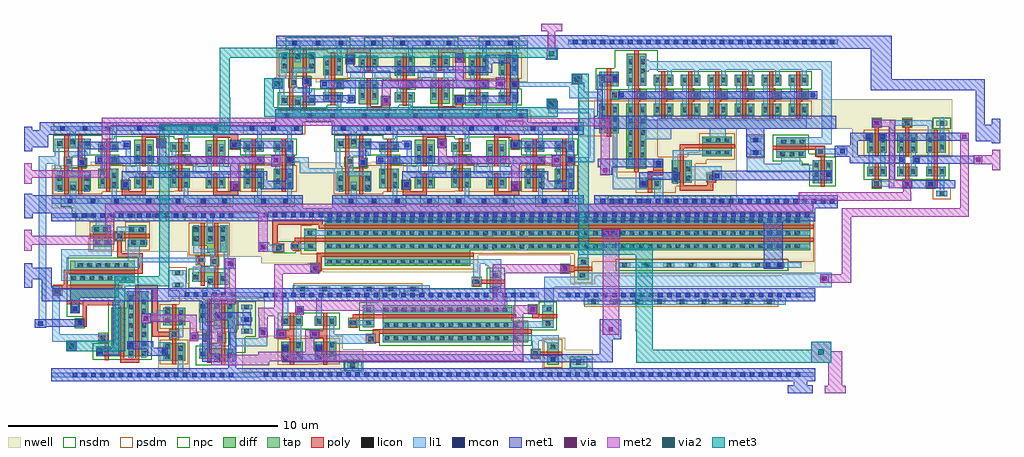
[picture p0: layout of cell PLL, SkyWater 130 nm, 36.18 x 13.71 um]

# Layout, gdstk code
from math import pi, radians
import gdstk
lib = gdstk.Library(unit=1e-6, precision=1e-09)
def R(c, l, rs):  # rectangles x0, y0, x1, y1
    for r in rs: c.add(gdstk.rectangle(r[:2], r[2:], *l))
def A(c, l, x, y, w, h, nx, ny, dx, dy):  # array of equal rectangles
    R(c, l, [(x+i*dx, y+j*dy, x+i*dx+w, y+j*dy+h) for i in range(nx) for j in range(ny)])
nwell = (64, 20)
diff = (65, 20)
tap = (65, 44)
poly = (66, 20)
licon = (66, 44)
li1 = (67, 20)
mcon = (67, 44)
met1 = (68, 20)
via = (68, 44)
met2 = (69, 20)
via2 = (69, 44)
met3 = (70, 20)
nsdm = (93, 44)
psdm = (94, 20)
npc = (95, 20)

c_fd = lib.new_cell('FD')
R(c_fd, nwell, [(6.79,1.48,7.86,1.55), (0,1.49,2.37,1.85), (3.96,1.49,5.1,1.84), (6.67,1.55,7.86,1.6), (6.67,1.6,9.32,1.84), (3.96,1.84,9.32,1.85), (0,1.85,9.32,3.2)])
R(c_fd, diff, [(7.87,0.62,9.13,0.98), (5.53,0.66,6.26,1.5), (2.88,0.67,3.61,1.51), (4.19,0.74,4.92,1.1), (0.35,0.75,1.08,1.11), (1.46,0.75,2.19,1.11), (6.85,0.75,7.58,1.11), (4.19,1.72,4.92,2.44), (0.35,1.73,1.08,2.45), (1.46,1.73,2.19,2.45), (6.85,1.73,7.58,2.45), (7.87,1.83,9.13,2), (7.87,2,9.14,2.55), (5.53,2.03,6.26,2.45), (2.88,2.04,3.61,2.46)])
A(c_fd, tap, 7.02, 0.15, 0.42, 0.17, 3, 1, 0.84, 0)
A(c_fd, tap, 6.7, 2.83, 0.43, 0.19, 3, 1, 0.86, 0)
R(c_fd, tap, [(0.03,0.15,0.45,0.32), (0.87,0.15,1.29,0.32), (1.67,0.15,2.09,0.32), (3.02,0.15,3.44,0.32), (3.94,0.15,4.36,0.32), (5,0.15,5.42,0.32), (5.84,0.15,6.26,0.32), (0.43,2.83,0.86,3.02), (1.25,2.83,1.68,3.02), (2.7,2.83,3.13,3.02), (3.48,2.83,3.91,3.02), (4.42,2.83,4.85,3.02), (5.5,2.83,5.93,3.02)])
R(c_fd, poly, [(5.12,0.43,5.97,0.58), (2.4,0.44,3.32,0.59), (8.18,0.49,8.33,1.37), (8.69,0.49,8.84,1.24), (5.12,0.58,5.39,0.96), (5.82,0.58,5.97,1.63), (2.4,0.59,2.67,1), (3.17,0.59,3.32,1.64), (4.48,0.61,4.63,1.25), (0.64,0.62,0.79,1.26), (1.75,0.62,1.9,1.26), (7.14,0.62,7.29,1.26), (8.66,1.24,8.84,1.3), (4.19,1.25,4.63,1.26), (0.35,1.26,0.79,1.27), (1.46,1.26,1.9,1.27), (4.16,1.26,4.63,1.5), (6.85,1.26,7.29,1.27), (0.32,1.27,0.79,1.51), (1.43,1.27,1.9,1.51), (6.82,1.27,7.29,1.51), (8.55,1.3,8.84,1.64), (8.05,1.37,8.33,1.42), (8.02,1.42,8.34,1.59), (4.19,1.5,4.63,1.52), (0.35,1.51,0.79,1.53), (1.46,1.51,1.9,1.53), (6.85,1.51,7.29,1.53), (4.48,1.52,4.63,2.57), (0.64,1.53,0.79,2.58), (1.75,1.53,1.9,2.58), (7.14,1.53,7.29,2.58), (8.05,1.59,8.33,1.64), (8.18,1.64,8.33,2.68), (8.66,1.64,8.84,1.68), (8.69,1.68,8.84,2.68), (5.82,1.89,5.97,2.56), (3.17,1.9,3.32,2.57), (6.44,2.16,6.71,2.56), (2.39,2.22,2.66,2.57), (5.82,2.56,6.71,2.71), (2.39,2.57,3.32,2.72)])
A(c_fd, licon, 7.15, 0.15, 0.17, 0.17, 3, 1, 0.84, 0)
A(c_fd, licon, 6.83, 2.84, 0.17, 0.17, 3, 1, 0.86, 0)
R(c_fd, licon, [(0.16,0.15,0.33,0.32), (1,0.15,1.17,0.32), (1.8,0.15,1.97,0.32), (3.15,0.15,3.32,0.32), (4.07,0.15,4.24,0.32), (5.13,0.15,5.3,0.32), (5.97,0.15,6.14,0.32), (8.45,0.66,8.62,0.83), (5.17,0.71,5.34,0.88), (7.93,0.71,8.1,0.88), (8.92,0.71,9.09,0.88), (2.45,0.75,2.62,0.92), (4.25,0.84,4.42,1.01), (4.69,0.84,4.86,1.01), (0.41,0.85,0.58,1.02), (0.85,0.85,1.02,1.02), (1.52,0.85,1.69,1.02), (1.96,0.85,2.13,1.02), (6.91,0.85,7.08,1.02), (7.35,0.85,7.52,1.02), (5.59,0.9,5.76,1.07), (6.03,0.9,6.2,1.07), (2.94,0.91,3.11,1.08), (3.38,0.91,3.55,1.08), (5.59,1.24,5.76,1.41), (6.03,1.24,6.2,1.41), (2.94,1.25,3.11,1.42), (3.38,1.25,3.55,1.42), (4.25,1.3,4.42,1.47), (0.41,1.31,0.58,1.48), (1.52,1.31,1.69,1.48), (6.91,1.31,7.08,1.48), (8.6,1.38,8.77,1.55), (8.1,1.42,8.27,1.59), (4.69,1.76,4.86,1.93), (0.85,1.77,1.02,1.94), (1.96,1.77,2.13,1.94), (7.35,1.77,7.52,1.94), (4.25,1.89,4.42,2.06), (0.41,1.9,0.58,2.07), (1.52,1.9,1.69,2.07), (6.91,1.9,7.08,2.07), (7.93,2,8.1,2.17), (8.91,2,9.08,2.17), (4.69,2.1,4.86,2.27), (0.85,2.11,1.02,2.28), (1.96,2.11,2.13,2.28), (7.35,2.11,7.52,2.28), (6.03,2.14,6.2,2.31), (3.38,2.15,3.55,2.32), (5.59,2.15,5.76,2.32), (2.94,2.16,3.11,2.33), (4.25,2.23,4.42,2.4), (0.41,2.24,0.58,2.41), (1.52,2.24,1.69,2.41), (6.49,2.24,6.66,2.41), (6.91,2.24,7.08,2.41), (2.44,2.3,2.61,2.47), (7.93,2.34,8.1,2.51), (8.44,2.34,8.61,2.51), (8.91,2.34,9.08,2.51), (0.56,2.84,0.73,3.01), (1.38,2.84,1.55,3.01), (2.83,2.84,3,3.01), (3.61,2.84,3.78,3.01), (4.55,2.84,4.72,3.01), (5.63,2.84,5.8,3.01)])
R(c_fd, li1, [(0,0.15,9.35,0.32), (0.41,0.32,0.58,1.11), (1.52,0.32,1.69,1.11), (4.25,0.32,4.42,1.1), (6.91,0.32,7.08,1.11), (8.42,0.32,8.64,0.91), (7.89,0.62,8.11,1.08), (8.9,0.62,9.2,0.98), (6.38,0.7,6.66,1.01), (5.09,0.71,5.42,0.88), (2.37,0.74,2.7,0.92), (4.69,0.74,4.86,1.27), (0.85,0.75,1.02,1.26), (1.96,0.75,2.13,1.27), (7.35,0.75,7.52,1.26), (5.59,0.82,5.76,1.62), (6.03,0.82,6.2,1.63), (2.94,0.83,3.11,1.63), (3.38,0.83,3.55,1.63), (9.03,0.98,9.2,1.64), (6.38,1.01,6.57,1.28), (7.89,1.08,8.72,1.25), (8.54,1.25,8.72,1.3), (0.85,1.26,1.15,1.56), (7.35,1.26,7.69,1.56), (1.96,1.27,2.64,1.57), (3.91,1.27,4.46,1.3), (4.69,1.27,5.37,1.56), (6.38,1.28,7.12,1.31), (3.91,1.3,4.5,1.47), (8.54,1.3,8.77,1.35), (0,1.31,0.66,1.48), (1.43,1.31,1.77,1.48), (6.38,1.31,7.16,1.48), (8.55,1.35,8.77,1.64), (8.01,1.42,8.35,1.59), (3.91,1.47,4.46,1.52), (6.38,1.48,7.12,1.52), (3.91,1.52,4.12,1.54), (6.38,1.52,6.57,1.63), (6.79,1.52,7.12,1.53), (3.91,1.54,4.08,1.63), (0.85,1.56,1.02,2.45), (4.69,1.56,4.86,2.44), (5.09,1.56,5.37,1.62), (7.35,1.56,7.52,2.45), (1.96,1.57,2.13,2.45), (2.39,1.57,2.64,1.63), (5.09,1.62,5.76,1.91), (2.39,1.63,3.11,1.93), (3.38,1.63,4.08,1.9), (6.03,1.63,6.57,1.88), (8.55,1.64,8.74,1.84), (8.95,1.64,9.2,1.81), (4.25,1.72,4.42,2.83), (0.41,1.73,0.58,2.83), (1.52,1.73,1.69,2.83), (6.91,1.73,7.08,2.83), (8.91,1.81,9.2,2.55), (7.9,1.84,8.74,2.01), (6.03,1.88,6.2,2.45), (3.38,1.9,3.55,2.46), (5.59,1.91,5.76,2.45), (2.94,1.93,3.11,2.46), (7.9,2.01,8.12,2.59), (6.49,2.16,6.66,2.5), (2.44,2.22,2.61,2.55), (8.41,2.22,8.64,2.83), (8.91,2.55,9.09,2.59), (0,2.83,9.32,3.02)])
A(c_fd, mcon, 7.15, 0.15, 0.17, 0.17, 3, 1, 0.84, 0)
A(c_fd, mcon, 6.83, 2.84, 0.17, 0.17, 3, 1, 0.86, 0)
R(c_fd, mcon, [(0.16,0.15,0.33,0.32), (1,0.15,1.17,0.32), (1.8,0.15,1.97,0.32), (3.15,0.15,3.32,0.32), (4.07,0.15,4.24,0.32), (5.13,0.15,5.3,0.32), (5.97,0.15,6.14,0.32), (5.17,0.71,5.34,0.88), (2.45,0.75,2.62,0.92), (6.46,0.77,6.63,0.94), (0.41,1.31,0.58,1.48), (1.52,1.31,1.69,1.48), (0.91,1.32,1.08,1.49), (7.44,1.32,7.61,1.49), (8.1,1.42,8.27,1.59), (6.49,2.24,6.66,2.41), (2.44,2.295,2.61,2.465), (0.56,2.84,0.73,3.01), (1.38,2.84,1.55,3.01), (2.83,2.84,3,3.01), (3.61,2.84,3.78,3.01), (4.55,2.84,4.72,3.01), (5.63,2.84,5.8,3.01)])
R(c_fd, met1, [(0,0,9.35,0.48), (5.08,0.63,5.41,0.96), (0.36,0.69,2.71,0.98), (6.41,0.7,6.72,0.71), (6.4,0.71,6.72,0.73), (6.4,0.73,8.34,1), (0.36,0.98,0.64,1.27), (8.07,1,8.34,1.37), (0.83,1.24,1.18,1.59), (1.46,1.26,7.69,1.54), (0.35,1.27,0.64,2.18), (8.04,1.37,8.35,1.65), (1.32,1.82,6.72,2.07), (1.32,2.07,1.57,2.18), (6.43,2.07,6.72,2.49), (0.35,2.18,1.57,2.5), (2.37,2.22,2.69,2.54), (6.44,2.49,6.72,2.5), (0,2.72,9.32,3.2)])
R(c_fd, via, [(5.17,0.72,5.32,0.87), (0.935,1.345,1.085,1.495), (2.455,2.305,2.605,2.455)])
R(c_fd, met2, [(5.08,0.63,5.41,0.87), (5.07,0.87,5.41,0.93), (5.07,0.93,5.4,1.28), (0.83,1.24,1.18,1.28), (0.83,1.28,5.4,1.57), (0.83,1.57,1.18,1.59), (2.37,1.57,2.69,2.51), (0.85,1.59,1.18,1.66)])
R(c_fd, nsdm, [(7.435,0.495,9.255,0.625), (4.775,0.535,6.995,0.615), (2.755,0.545,4.335,0.615), (2.755,0.615,6.995,0.625), (0.225,0.625,2.315,1.235), (2.755,0.625,9.255,1.105), (2.755,1.105,8.015,1.225), (2.755,1.225,4.335,1.595), (4.775,1.225,8.015,1.235), (4.775,1.235,6.995,1.595), (2.755,1.595,4.065,1.635), (5.045,1.595,6.995,1.605), (5.045,1.605,6.725,1.625), (0.305,2.705,1.805,3.145), (2.575,2.705,4.975,3.145), (5.375,2.705,6.055,3.145), (6.575,2.705,8.975,3.145)])
R(c_fd, psdm, [(-0.095,0.025,2.215,0.445), (2.895,0.025,4.485,0.445), (4.875,0.025,6.385,0.445), (6.895,0.025,9.245,0.445), (4.065,1.595,5.045,1.625), (0.225,1.605,2.315,2.575), (6.725,1.605,8.015,1.625), (4.065,1.625,5.675,1.635), (6.115,1.625,8.015,1.705), (3.465,1.635,5.675,1.905), (6.115,1.705,9.255,1.875), (6.115,1.875,9.265,1.905), (3.465,1.905,9.265,1.915), (2.755,1.915,9.265,2.565), (2.755,2.565,4.335,2.585), (4.775,2.565,9.265,2.575), (7.435,2.575,9.265,2.675)])
R(c_fd, npc, [(5.07,0.61,5.44,0.98), (2.35,0.65,2.72,1.02), (4.15,1.2,4.52,1.57), (0.31,1.21,0.68,1.58), (1.42,1.21,1.79,1.58), (6.81,1.21,7.18,1.58), (8.175,1.28,8.87,1.32), (8,1.32,8.87,1.65), (8,1.65,8.695,1.69), (6.39,2.14,6.76,2.51), (2.34,2.2,2.71,2.57)])
c_fd.add(gdstk.Label('GND', (0,0.24), layer=94, texttype=20))

pfd = lib.new_cell('PFD')
R(pfd, nwell, [(3.97,0.31,5.14,1.57), (3.97,1.57,7.67,2.95), (4.43,2.95,7.67,3.07), (6.77,3.07,7.67,3.08), (5.05,4.6,7.67,4.79), (1.37,4.79,7.67,5.35), (0.89,5.35,7.67,6.4)])
R(pfd, diff, [(6.03,0.71,6.74,0.83), (4.15,0.75,4.96,1.4), (5.48,0.83,6.74,1.19), (1.66,0.92,3.6,1.28), (2.23,1.28,3.6,2.72), (6.03,1.93,6.75,2.17), (4.15,2.07,4.96,2.72), (5.48,2.17,6.75,2.89), (0.7,2.51,1.06,3.08), (2.8,2.72,3.6,3.32), (0.7,3.08,2.5,3.65), (5.78,3.56,6.49,3.68), (0.7,3.65,3.1,4.45), (5.23,3.68,6.49,4.04), (5.78,4.78,6.5,5.02), (1.55,4.97,2.2,5.78), (2.87,4.97,3.52,5.78), (5.23,5.02,6.5,5.74)])
A(pfd, tap, 1.16, 6.05, 0.41, 0.17, 5, 1, 0.82, 0)
R(pfd, tap, [(7.04,1.76,7.45,1.93), (7.04,2.2,7.45,2.37), (7.04,2.66,7.45,2.83), (4.48,3.47,4.89,3.65), (4.48,3.92,4.89,4.1)])
R(pfd, poly, [(6.3,0.58,6.45,1.36), (4.48,0.62,4.63,1.6), (2.56,0.68,3.27,0.83), (5.79,0.68,5.94,1.5), (1.99,0.77,2.14,1.46), (2.56,0.83,2.71,2.81), (3.12,0.83,3.27,3.4), (6.27,1.36,6.45,1.42), (6.16,1.42,6.45,1.76), (1.76,1.46,2.14,1.73), (5.66,1.5,5.94,1.55), (5.63,1.55,5.95,1.72), (4.39,1.6,4.72,1.65), (3.74,1.65,4.72,1.82), (5.66,1.72,5.94,1.77), (6.27,1.76,6.45,1.83), (5.79,1.77,5.94,3.02), (3.74,1.82,3.94,3.4), (4.39,1.82,4.72,1.87), (6.3,1.83,6.45,3.02), (4.48,1.87,4.63,2.85), (0.9,2.01,1.32,2.28), (1.17,2.28,1.32,2.81), (1.17,2.81,2.71,2.84), (0.57,2.84,2.71,2.99), (0.08,3.18,0.35,3.41), (3.12,3.4,3.94,3.56), (0.08,3.41,2.63,3.56), (6.05,3.43,6.2,4.21), (5.54,3.53,5.69,4.35), (0.46,3.56,0.61,3.97), (0.46,3.97,3.4,4.12), (3.23,4.12,3.4,4.59), (6.02,4.21,6.2,4.27), (5.91,4.27,6.2,4.61), (5.41,4.35,5.69,4.4), (5.38,4.4,5.7,4.57), (5.41,4.57,5.69,4.62), (2.45,4.59,3.4,4.74), (6.02,4.61,6.2,4.68), (5.54,4.62,5.69,5.87), (6.05,4.68,6.2,5.87), (2.45,4.74,2.62,5.21), (2.4,5.21,2.67,5.3), (1.42,5.3,3.65,5.45), (2.4,5.45,2.67,5.54)])
A(pfd, licon, 2.87, 0.96, 0.17, 0.17, 1, 7, 0, 0.34)
A(pfd, licon, 3.35, 0.96, 0.17, 0.17, 1, 4, 0, 0.34)
A(pfd, licon, 0.74, 3.72, 0.17, 0.17, 5, 1, 0.34, 0)
A(pfd, licon, 0.99, 4.2, 0.17, 0.17, 6, 1, 0.34, 0)
A(pfd, licon, 1.28, 6.05, 0.17, 0.17, 5, 1, 0.82, 0)
R(pfd, licon, [(6.07,0.78,6.24,0.95), (4.71,0.79,4.88,0.96), (4.23,0.83,4.4,1), (6.53,0.87,6.7,1.04), (5.54,0.92,5.71,1.09), (1.74,1.01,1.91,1.18), (4.71,1.13,4.88,1.3), (4.23,1.19,4.4,1.36), (6.21,1.5,6.38,1.67), (1.84,1.51,2.01,1.68), (5.71,1.55,5.88,1.72), (4.47,1.65,4.64,1.82), (7.16,1.76,7.33,1.93), (0.98,2.06,1.15,2.23), (4.71,2.11,4.88,2.28), (4.23,2.16,4.4,2.33), (7.16,2.2,7.33,2.37), (5.54,2.34,5.71,2.51), (6.07,2.34,6.24,2.51), (6.52,2.34,6.69,2.51), (4.71,2.45,4.88,2.62), (3.35,2.5,3.52,2.67), (4.23,2.5,4.4,2.67), (0.8,2.59,0.97,2.76), (7.16,2.66,7.33,2.83), (5.54,2.68,5.71,2.85), (6.07,2.68,6.24,2.85), (6.52,2.68,6.69,2.85), (3.35,2.84,3.52,3.01), (0.13,3.26,0.3,3.43), (4.6,3.48,4.77,3.65), (5.82,3.63,5.99,3.8), (2.61,3.72,2.78,3.89), (6.28,3.72,6.45,3.89), (5.29,3.77,5.46,3.94), (4.6,3.93,4.77,4.1), (5.96,4.35,6.13,4.52), (5.46,4.4,5.63,4.57), (1.63,5.05,1.8,5.22), (1.99,5.05,2.16,5.22), (2.96,5.05,3.13,5.22), (3.3,5.05,3.47,5.22), (5.29,5.19,5.46,5.36), (5.82,5.19,5.99,5.36), (6.27,5.19,6.44,5.36), (2.45,5.29,2.62,5.46), (1.59,5.53,1.76,5.7), (1.93,5.53,2.1,5.7), (2.91,5.53,3.08,5.7), (3.25,5.53,3.42,5.7), (5.29,5.53,5.46,5.7), (5.82,5.53,5.99,5.7), (6.27,5.53,6.44,5.7)])
R(pfd, li1, [(0,0.14,7.67,0.31), (4.69,0.31,4.9,1.42), (6.03,0.7,6.25,1.03), (6.51,0.71,6.81,1.19), (3.96,0.75,4.42,1.44), (5.5,0.83,5.72,1.21), (2.86,0.86,3.05,3.32), (3.34,0.86,3.53,1.09), (1.73,0.92,1.91,1.28), (3.34,1.09,3.6,2.2), (6.64,1.19,6.81,1.93), (5.5,1.21,6.33,1.38), (6.15,1.38,6.33,1.42), (6.15,1.42,6.38,1.47), (0.04,1.45,2.1,1.74), (6.16,1.47,6.38,1.76), (5.14,1.55,5.96,1.72), (4.39,1.62,4.89,1.85), (0.04,1.74,0.31,3.51), (6.16,1.76,6.35,1.89), (7.04,1.76,7.45,1.93), (4.7,1.85,4.89,2.72), (5.51,1.89,6.35,2.06), (6.52,1.93,6.81,2.93), (7.1,1.93,7.4,2.2), (0.9,2.06,1.23,2.23), (5.51,2.06,5.73,2.93), (4.22,2.07,4.41,2.18), (3.95,2.18,4.41,2.26), (3.34,2.2,3.64,2.26), (7.04,2.2,7.45,2.37), (6.02,2.23,6.25,2.25), (6.02,2.25,6.33,2.54), (3.34,2.26,4.41,2.51), (7.1,2.37,7.4,2.66), (0.78,2.51,0.99,2.59), (3.34,2.51,3.53,3.32), (3.95,2.51,4.41,2.62), (6.02,2.54,6.25,2.93), (0.7,2.59,1.06,2.76), (4.22,2.62,4.41,2.75), (7.04,2.66,7.45,2.83), (0.78,2.76,0.99,2.78), (4.34,3.12,7.67,3.29), (4.34,3.29,5.01,4.1), (5.56,3.29,6.23,3.36), (5.78,3.36,6,3.88), (6.26,3.56,6.56,4.04), (5.25,3.68,5.47,4.06), (0.37,3.71,3.1,3.95), (0.37,3.95,0.64,4.63), (6.39,4.04,6.56,4.78), (5.25,4.06,6.09,4.23), (0.87,4.19,3.29,4.4), (5.9,4.23,6.09,4.27), (5.9,4.27,6.13,4.61), (0.87,4.4,5.71,4.45), (2.84,4.45,5.71,4.57), (2.84,4.57,3.28,5.04), (5.9,4.61,6.1,4.74), (0.37,4.63,2.24,4.88), (5.26,4.74,6.1,4.91), (6.27,4.78,6.56,5.78), (1.55,4.88,2.24,5.24), (5.26,4.91,5.48,5.78), (2.84,5.04,3.55,5.23), (5.77,5.08,6,6.05), (2.42,5.21,2.65,5.52), (1.51,5.51,2.22,5.72), (2.42,5.52,3.52,5.71), (1.65,5.72,2.07,6.05), (0,6.05,7.67,6.22)])
A(pfd, mcon, 0.8, 0.14, 0.17, 0.17, 18, 2, 0.34, 5.91)
A(pfd, mcon, 4.94, 3.12, 0.17, 0.17, 6, 1, 0.34, 0)
R(pfd, mcon, [(6.07,0.78,6.24,0.95), (4.09,1,4.26,1.17), (1.74,1.01,1.91,1.18), (2.87,1.24,3.04,1.41), (5.2,1.55,5.37,1.72), (0.98,2.06,1.15,2.23), (7.16,2.2,7.33,2.37), (3.43,2.23,3.6,2.4), (6.16,2.31,6.33,2.48), (0.8,2.59,0.97,2.76)])
A(pfd, met1, 0, 0, 7.67, 0.48, 1, 3, 0, 2.96)
R(pfd, met1, [(6.56,0.48,6.86,2.07), (5.6,0.72,6.27,1.01), (3.56,0.94,4.32,1.18), (1.68,0.95,2.52,1.24), (5.6,1.01,5.87,2.96), (2.81,1.18,4.32,1.23), (2.81,1.23,3.79,1.47), (2.28,1.24,2.52,2.96), (5.13,1.47,5.45,1.79), (0.71,2.01,1.21,2.29), (6.56,2.07,7.41,2.25), (3.34,2.14,3.69,2.49), (6.1,2.25,7.41,2.54), (0.74,2.53,1.04,2.96)])
R(pfd, via, [(5.215,1.555,5.365,1.705), (3.44,2.24,3.59,2.39)])
R(pfd, met2, [(5.13,1.47,5.45,1.79), (5.14,1.79,5.4,2.19), (3.34,2.14,3.69,2.19), (3.34,2.19,5.4,2.46), (3.34,2.46,3.69,2.49)])
R(pfd, nsdm, [(5.355,0.585,6.865,1.045), (1.535,0.795,3.725,1.405), (5.355,1.045,7.185,1.315), (6.595,1.315,7.185,1.635), (2.105,1.405,3.725,2.955), (6.595,1.635,7.575,1.805), (6.875,1.805,7.575,1.905), (6.915,1.905,7.575,2.955), (0.575,2.385,1.185,2.955), (0.575,2.955,3.725,3.445), (5.105,3.435,6.615,4.165), (0.575,3.445,3.225,4.575), (1.035,5.925,4.975,6.345)])
R(pfd, psdm, [(4.025,0.625,5.085,1.525), (5.355,1.805,6.875,1.945), (4.025,1.945,6.875,2.845), (4.745,2.845,6.875,3.015), (4.745,3.015,5.625,3.345), (4.355,3.345,5.625,3.435), (4.355,3.435,5.105,3.615), (4.355,3.615,5.015,4.225), (5.105,4.655,6.625,5.865), (1.425,4.845,2.325,5.905), (2.745,4.845,3.645,5.905)])
R(pfd, npc, [(5.785,1.4,6.48,1.45), (1.74,1.41,2.11,1.78), (5.61,1.45,6.48,1.77), (4.37,1.55,4.74,1.92), (5.61,1.77,6.305,1.82), (0.88,1.96,1.25,2.33), (0.03,3.16,0.4,3.53), (5.535,4.25,6.23,4.3), (5.36,4.3,6.23,4.62), (5.36,4.62,6.055,4.67), (2.35,5.19,2.72,5.56)])

c_cp = lib.new_cell('CP')
R(c_cp, nwell, [(10.55,0.31,12.41,1.15), (0.6,0.32,3.9,1.17), (10.55,1.15,11.39,1.6), (0.6,1.17,3.15,1.68), (11.58,3.58,12.51,3.88), (11.58,3.88,12.88,3.89), (11.58,3.89,19.42,3.93), (11.58,3.93,20.66,4.67), (2.41,4.03,8.16,4.08), (2.3,4.08,8.16,4.23), (1.96,4.23,8.16,4.36), (0.12,4.36,8.16,4.67), (0.12,4.67,20.66,6.26)])
R(c_cp, diff, [(10.73,0.61,11.15,1.42), (0.86,0.73,1.67,1.45), (2.1,0.74,2.91,1.46), (4.62,1.43,10.02,2.24), (3.88,1.99,4.32,2.8), (10.54,2,10.96,2.81), (0.87,2.04,1.67,2.4), (2.11,2.04,2.91,2.4), (4.62,2.24,9.42,2.8), (8.6,3.27,9.02,4.08), (11.85,3.76,12.27,4.57), (2.48,4.27,7.88,4.85), (1.72,4.83,2.16,5.65), (2.48,4.85,20.48,6.08)])
A(c_cp, tap, 12.23, 2.87, 0.41, 0.17, 6, 1, 0.82, 0)
A(c_cp, tap, 17.11, 2.87, 0.41, 0.17, 3, 1, 0.82, 0)
A(c_cp, tap, 1.45, 3.32, 0.41, 0.17, 6, 1, 0.82, 0)
A(c_cp, tap, 13.39, 4.22, 0.41, 0.17, 8, 1, 0.82, 0)
R(c_cp, tap, [(3.31,0.5,3.72,0.67), (11.68,0.61,12.09,0.78)])
R(c_cp, poly, [(1.19,0.6,1.34,1.61), (2.43,0.61,2.58,1.61), (10.16,0.85,10.43,0.94), (10.16,0.94,11.28,1.09), (10.16,1.09,10.43,1.18), (4,1.41,4.49,1.71), (0.7,1.61,1.34,1.88), (1.94,1.61,2.58,1.88), (4.25,1.71,4.49,1.76), (4.25,1.76,10.15,1.91), (1.19,1.88,1.34,2.53), (2.43,1.88,2.58,2.53), (3.45,1.99,3.67,2.02), (3.4,2.02,3.67,2.29), (3.45,2.29,3.67,2.32), (3.52,2.32,9.57,2.47), (10.17,2.33,11.09,2.48), (10.17,2.48,10.35,2.52), (10.02,2.52,10.35,2.8), (7.98,3.51,8.25,3.6), (7.98,3.6,9.15,3.75), (7.98,3.75,8.25,3.84), (11.22,4.03,11.71,4.09), (1.96,4.06,2.36,4.33), (11.22,4.09,12.4,4.24), (11.22,4.24,11.71,4.3), (2.19,4.33,2.36,4.6), (2.19,4.6,8.01,4.75), (0.54,4.77,0.98,5.09), (1.3,4.83,1.52,4.86), (1.25,4.86,1.52,5.13), (0.54,5.09,0.73,5.8), (1.3,5.13,1.52,5.16), (1.37,5.16,20.61,5.31), (2.25,5.65,20.61,5.8), (0.54,5.8,2.4,5.98)])
A(c_cp, licon, 4.7, 1.51, 0.17, 0.17, 15, 2, 0.34, 0.48)
A(c_cp, licon, 4.66, 2.55, 0.17, 0.17, 14, 1, 0.34, 0)
A(c_cp, licon, 12.35, 2.87, 0.17, 0.17, 6, 1, 0.82, 0)
A(c_cp, licon, 17.23, 2.87, 0.17, 0.17, 3, 1, 0.82, 0)
A(c_cp, licon, 1.57, 3.32, 0.17, 0.17, 6, 1, 0.82, 0)
A(c_cp, licon, 13.51, 4.22, 0.17, 0.17, 8, 1, 0.82, 0)
A(c_cp, licon, 2.57, 4.35, 0.17, 0.17, 15, 1, 0.34, 0)
A(c_cp, licon, 2.57, 4.91, 0.17, 0.17, 52, 2, 0.34, 0.49)
A(c_cp, licon, 2.57, 5.86, 0.17, 0.17, 52, 1, 0.34, 0)
R(c_cp, licon, [(3.43,0.5,3.6,0.67), (11.8,0.61,11.97,0.78), (10.86,0.69,11.03,0.86), (0.94,0.77,1.11,0.94), (2.18,0.78,2.35,0.95), (1.42,0.9,1.59,1.07), (2.66,0.91,2.83,1.08), (10.21,0.93,10.38,1.1), (0.94,1.11,1.11,1.28), (2.18,1.12,2.35,1.29), (10.86,1.17,11.03,1.34), (1.42,1.24,1.59,1.41), (2.66,1.25,2.83,1.42), (4.1,1.475,4.27,1.645), (0.78,1.66,0.95,1.83), (2.02,1.66,2.19,1.83), (10.67,2.04,10.84,2.21), (3.45,2.07,3.62,2.24), (4.01,2.07,4.18,2.24), (0.94,2.13,1.11,2.3), (1.42,2.13,1.59,2.3), (2.18,2.13,2.35,2.3), (2.66,2.13,2.83,2.3), (4.01,2.55,4.18,2.72), (10.7,2.56,10.87,2.73), (10.1,2.57,10.27,2.74), (8.73,3.35,8.9,3.52), (8.03,3.59,8.2,3.76), (8.73,3.83,8.9,4), (11.94,3.84,12.11,4.01), (11.3,4.08,11.47,4.25), (2.04,4.11,2.21,4.28), (11.98,4.32,12.15,4.49), (0.69,4.84,0.86,5.01), (1.3,4.91,1.47,5.08), (1.86,4.91,2.03,5.08), (1.85,5.4,2.02,5.57)])
R(c_cp, li1, [(0,0.15,20.67,0.32), (3.22,0.32,3.9,0.73), (11.6,0.32,12.41,0.82), (0.93,0.69,1.12,1.45), (10.73,0.69,11.15,0.9), (2.17,0.7,2.36,1.46), (1.41,0.73,1.6,2.5), (2.65,0.74,2.84,1.38), (10.13,0.93,10.46,1.1), (10.17,1.1,10.42,1.5), (10.73,1.17,11.15,1.37), (10.72,1.37,11.15,1.42), (2.65,1.38,4.31,1.74), (10.67,1.42,11.15,1.46), (10.6,1.46,11.15,1.5), (4.62,1.5,11.15,1.69), (0.7,1.66,1.03,1.83), (1.94,1.66,2.27,1.83), (2.65,1.74,2.84,2.4), (4.62,1.98,10.96,2.17), (0.93,2.04,1.12,3.1), (2.17,2.04,2.36,3.1), (3.37,2.06,4.32,2.25), (9.99,2.17,10.96,2.22), (10.54,2.22,10.96,2.25), (10.1,2.49,10.27,2.82), (1.41,2.5,1.67,2.76), (4.62,2.54,9.42,2.55), (3.88,2.55,9.42,2.72), (10.54,2.56,10.96,2.73), (4.01,2.72,9.42,2.73), (4.01,2.73,9.25,3.1), (10.61,2.73,10.96,3.48), (12.08,2.82,19.57,3.1), (0.01,3.1,10.41,3.27), (11.14,3.1,20.66,3.27), (1.3,3.27,6.37,3.55), (8.6,3.27,9.02,3.52), (10.61,3.48,11.96,3.49), (10.61,3.49,20.66,3.87), (7.95,3.59,8.28,3.76), (7.99,3.76,8.24,4.35), (8.6,3.83,9.02,4.19), (11.85,3.87,20.66,4.02), (2.04,4.03,2.21,4.36), (11.22,4.08,11.55,4.25), (8.55,4.19,9.02,4.25), (13.38,4.2,20.15,4.41), (8.48,4.25,9.02,4.3), (8.43,4.3,9.02,4.35), (11.85,4.31,12.27,4.5), (2.48,4.35,9.02,4.52), (11.87,4.5,12.25,4.9), (0.51,4.81,0.96,5.05), (8.37,4.85,8.75,4.9), (9.63,4.85,10.01,4.9), (1.22,4.9,2.16,5.09), (2.48,4.9,20.48,5.09), (8.37,5.34,8.75,5.39), (9.63,5.34,10.01,5.39), (11.87,5.34,12.25,5.39), (1.72,5.39,20.48,5.58), (2.48,5.85,20.48,6.07), (0,6.07,20.66,6.24)])
A(c_cp, mcon, 0.21, 0.15, 0.17, 0.17, 59, 1, 0.34, 0)
A(c_cp, mcon, 0.21, 3.1, 0.17, 0.17, 30, 1, 0.34, 0)
A(c_cp, mcon, 11.43, 3.1, 0.17, 0.17, 26, 1, 0.34, 0)
A(c_cp, mcon, 0.21, 6.07, 0.17, 0.17, 60, 1, 0.34, 0)
R(c_cp, mcon, [(10.86,0.72,11.03,0.89), (0.94,0.77,1.11,0.94), (2.18,0.78,2.35,0.95), (0.94,1.11,1.11,1.28), (2.18,1.12,2.35,1.29), (0.78,1.66,0.95,1.83), (2.02,1.66,2.19,1.83), (1.46,2.54,1.63,2.71), (10.1,2.57,10.27,2.74), (11.3,4.08,11.47,4.25), (2.04,4.11,2.21,4.28), (18.82,4.22,18.99,4.39), (19.25,4.22,19.42,4.39), (12.81,5.4,12.98,5.57), (13.15,5.4,13.32,5.57)])
R(c_cp, met1, [(0,0,20.67,0.48), (0.9,0.69,13.16,0.99), (0.9,0.99,1.15,1.34), (2.14,0.99,2.39,1.35), (12.68,0.99,13.16,1.54), (12.68,1.54,13.47,2.29), (0.71,1.58,1.03,1.9), (1.94,1.58,2.26,1.9), (1.38,2.46,1.7,2.78), (10.02,2.49,10.34,2.81), (0.01,2.96,20.66,3.44), (11.22,4.02,11.54,4.32), (1.96,4.03,2.28,4.35), (18.76,4.16,19.48,4.46), (18.76,4.46,19.46,5.92), (12.75,5.34,13.43,5.63), (0,5.92,20.66,6.4)])
R(c_cp, via, [(0.795,1.665,0.945,1.815), (2.025,1.665,2.175,1.815), (13.005,1.845,13.155,1.995), (1.465,2.545,1.615,2.695), (10.105,2.575,10.255,2.725), (11.305,4.085,11.455,4.235), (2.045,4.115,2.195,4.265), (12.985,5.395,13.135,5.545)])
R(c_cp, met2, [(0.01,0.73,9.84,1.09), (1.76,1.09,9.84,1.1), (1.76,1.1,2.09,1.61), (9.47,1.1,9.84,2.49), (0.6,1.58,1.03,1.9), (1.76,1.61,2.26,1.9), (12.78,1.71,13.39,5.63), (0.6,1.9,0.92,2.41), (0.01,2.41,0.92,2.72), (1.38,2.46,1.7,2.6), (9.47,2.49,10.34,2.81), (1.38,2.6,9.17,3), (0.6,2.72,0.92,3.97), (8.7,3,9.17,4), (0.6,3.97,2.27,4.03), (8.7,4,11.54,4.32), (0.6,4.03,2.28,4.33), (1.84,4.33,2.28,4.35)])
R(c_cp, nsdm, [(3.185,0.375,3.845,0.795), (11.555,0.485,12.215,0.905), (4.495,1.305,10.145,1.865), (3.755,1.865,10.145,1.875), (3.755,1.875,11.085,2.365), (0.745,1.915,3.035,2.525), (3.755,2.365,9.545,2.925), (10.415,2.365,11.085,2.935), (4.495,2.925,9.545,3.195), (4.495,3.195,4.605,3.415), (5.265,3.195,5.425,3.415), (6.085,3.195,9.545,3.415), (8.475,3.415,9.145,4.205), (13.265,4.095,19.665,4.515)])
R(c_cp, psdm, [(10.605,0.485,11.275,1.545), (0.735,0.605,2.245,0.615), (0.735,0.615,3.035,1.575), (1.525,1.575,3.035,1.585), (12.105,2.745,19.285,3.165), (1.325,3.195,4.495,3.415), (4.605,3.195,5.265,3.415), (5.425,3.195,6.085,3.415), (1.325,3.415,6.085,3.615), (11.725,3.635,12.395,4.425), (2.355,4.145,8.005,4.705), (11.725,4.425,13.265,4.515), (19.665,4.425,20.605,4.515), (11.725,4.515,20.605,4.725), (1.595,4.705,8.005,4.725), (1.595,4.725,20.605,5.775), (2.015,5.775,20.605,6.205)])
R(c_cp, npc, [(10.11,0.83,10.48,1.2), (4,1.375,4.37,1.745), (0.68,1.56,1.05,1.93), (1.92,1.56,2.29,1.93), (3.35,1.97,3.72,2.34), (10,2.47,10.37,2.84), (7.93,3.49,8.3,3.86), (11.2,3.98,11.57,4.35), (1.94,4.01,2.31,4.38), (0.59,4.74,1.395,4.81), (0.59,4.81,1.57,5.11), (0.765,5.11,1.57,5.18)])

vco = lib.new_cell('VCO')
R(vco, nwell, [(0.48,2.35,9.02,3.44), (3.74,3.44,9.02,6.4)])
A(vco, diff, 1.09, 1.44, 0.73, 0.42, 6, 2, 1, 1.09)
R(vco, diff, [(7.09,0.66,7.82,1.86), (8.11,1.33,8.84,1.87), (7.09,2.53,7.83,4.93), (8.11,2.53,8.84,3.61), (3.93,3.74,5.01,4.47), (1.19,3.79,2.27,4.52), (5.41,4.61,6.14,5.45), (0.19,4.62,0.92,5.46), (6.55,5.27,7.36,5.69)])
A(vco, tap, 4.08, 6.05, 0.48, 0.17, 5, 1, 0.96, 0)
R(vco, tap, [(2.83,3.78,3.24,3.95), (2.83,4.25,3.24,4.42)])
A(vco, poly, 1.38, 1.31, 0.15, 0.63, 6, 2, 1, 1.14)
A(vco, poly, 1.31, 1.94, 0.22, 0.11, 7, 1, 1, 0)
A(vco, poly, 1.09, 2.05, 0.44, 0.3, 7, 1, 1, 0)
A(vco, poly, 1.31, 2.35, 0.22, 0.1, 7, 1, 1, 0)
R(vco, poly, [(7.38,0.53,7.53,1.94), (8.4,1.2,8.55,2.05), (8.1,2.05,8.55,2.34), (8.4,2.34,8.55,3.74), (7.38,2.45,7.53,5.06), (3.8,4.03,5.85,4.18), (0.47,4.08,2.4,4.23), (5.7,4.18,5.85,5.55), (0.47,4.23,0.82,4.47), (0.48,4.47,0.82,4.48), (0.48,4.48,0.63,5.59), (6.47,4.67,6.84,5.02), (6.47,5.02,7.03,5.17), (4.51,5.12,4.84,5.45), (6.88,5.17,7.03,5.82), (4.61,5.45,4.84,5.55), (4.61,5.55,5.85,5.75)])
A(vco, licon, 7.15, 0.88, 0.17, 0.17, 1, 3, 0, 0.34)
A(vco, licon, 7.59, 0.88, 0.17, 0.17, 1, 3, 0, 0.34)
A(vco, licon, 1.17, 2.11, 0.17, 0.17, 7, 1, 1, 0)
A(vco, licon, 7.15, 2.66, 0.17, 0.17, 1, 5, 0, 0.42)
A(vco, licon, 7.59, 2.66, 0.17, 0.17, 1, 5, 0, 0.42)
A(vco, licon, 4.01, 3.8, 0.17, 0.17, 3, 2, 0.34, 0.44)
A(vco, licon, 1.23, 3.85, 0.17, 0.17, 3, 1, 0.34, 0)
A(vco, licon, 1.27, 4.29, 0.17, 0.17, 3, 1, 0.34, 0)
A(vco, licon, 4.235, 6.05, 0.17, 0.17, 5, 1, 0.96, 0)
R(vco, licon, [(8.17,1.5,8.34,1.67), (8.61,1.5,8.78,1.67), (1.15,1.56,1.32,1.73), (1.59,1.56,1.76,1.73), (2.15,1.56,2.32,1.73), (2.59,1.56,2.76,1.73), (3.15,1.56,3.32,1.73), (3.59,1.56,3.76,1.73), (4.15,1.56,4.32,1.73), (4.59,1.56,4.76,1.73), (5.15,1.56,5.32,1.73), (5.59,1.56,5.76,1.73), (6.15,1.56,6.32,1.73), (6.59,1.56,6.76,1.73), (8.18,2.11,8.35,2.28), (8.61,2.595,8.78,2.765), (1.15,2.66,1.32,2.83), (1.59,2.66,1.76,2.83), (2.15,2.66,2.32,2.83), (2.59,2.66,2.76,2.83), (3.15,2.66,3.32,2.83), (3.59,2.66,3.76,2.83), (4.15,2.66,4.32,2.83), (4.59,2.66,4.76,2.83), (5.15,2.66,5.32,2.83), (5.59,2.66,5.76,2.83), (6.15,2.66,6.32,2.83), (6.59,2.66,6.76,2.83), (8.17,2.66,8.34,2.83), (8.61,2.955,8.78,3.125), (8.17,3.015,8.34,3.185), (8.61,3.31,8.78,3.48), (8.17,3.375,8.34,3.545), (2.95,3.78,3.12,3.95), (0.55,4.2,0.72,4.37), (2.95,4.25,3.12,4.42), (0.25,4.705,0.42,4.875), (0.69,4.705,0.86,4.875), (6.555,4.73,6.725,4.9), (5.47,4.86,5.64,5.03), (5.91,4.9,6.08,5.07), (0.69,5.06,0.86,5.23), (0.25,5.065,0.42,5.235), (4.59,5.17,4.76,5.34), (5.47,5.2,5.64,5.37), (5.91,5.24,6.08,5.41), (6.63,5.39,6.8,5.56), (7.11,5.39,7.28,5.56)])
A(vco, li1, 1.15, 1.27, 0.17, 0.59, 6, 1, 1, 0)
A(vco, li1, 1.59, 1.44, 0.17, 0.67, 6, 2, 1, 0.84)
A(vco, li1, 1.59, 2.11, 0.83, 0.17, 6, 1, 1, 0)
A(vco, li1, 1.15, 2.53, 0.17, 0.59, 7, 1, 1, 0)
R(vco, li1, [(0,0.15,9.02,0.32), (7.15,0.77,7.32,0.9), (7.59,0.77,7.76,2.05), (7,0.9,7.32,0.95), (0.21,0.95,7.32,1.27), (0.21,1.27,0.58,3.77), (7,1.27,7.32,1.33), (7.15,1.33,7.32,1.86), (8.17,1.33,8.34,1.87), (8.61,1.33,8.78,2.08), (7.59,2.05,8.43,2.34), (8.61,2.08,9.02,2.31), (0.82,2.11,1.42,2.28), (8.61,2.31,8.78,3.61), (7.59,2.34,7.76,4.76), (8.17,2.53,8.34,5.27), (1.15,3.12,7.32,3.44), (4.15,3.44,4.74,3.8), (6.17,3.44,7.32,3.83), (2.72,3.7,3.37,3.99), (0.21,3.77,2.28,4.02), (3.93,3.8,5.01,3.97), (7.15,3.83,7.32,4.76), (2.71,3.99,3.38,4.49), (0.07,4.19,0.8,4.39), (3.93,4.24,6.11,4.41), (1.19,4.29,2.27,4.46), (5.91,4.41,6.11,5.49), (1.39,4.46,2.09,4.74), (2.71,4.49,3.37,4.74), (6.46,4.56,6.81,4.9), (5.47,4.61,5.64,4.84), (0.25,4.62,0.42,5.46), (0.69,4.62,0.86,4.78), (1.39,4.74,3.37,4.78), (0.69,4.78,3.37,5.06), (4.3,4.84,5.64,5.36), (0.69,5.06,0.86,5.46), (6.46,5.27,6.8,6.05), (7.1,5.27,8.34,5.69), (5.47,5.36,5.64,5.45), (0,6.05,9.02,6.22)])
A(vco, mcon, 0.12, 0.15, 0.17, 0.17, 26, 2, 0.34, 5.9)
R(vco, mcon, [(8.17,1.5,8.34,1.67), (0.82,2.11,0.99,2.28), (7.92,2.11,8.09,2.28), (2.95,3.78,3.12,3.95), (2.95,4.25,3.12,4.42), (6.55,4.63,6.72,4.8), (0.25,5.06,0.42,5.23), (4.385,5.115,4.555,5.285), (5.91,5.12,6.08,5.29), (7.11,5.39,7.28,5.56)])
R(vco, met1, [(0,0,9.02,0.48), (8.11,1.44,8.91,1.73), (8.71,1.73,8.91,2.97), (0.76,2.05,8.12,2.06), (0.76,2.06,8.13,2.34), (0.05,2.97,9.02,3.45), (2.71,3.45,3.38,4.49), (2.72,4.49,3.37,4.5), (6.49,4.57,8.9,4.88), (0.19,5,4.64,5.36), (5.85,5.07,7.35,5.34), (7.05,5.34,7.34,5.62), (0,5.92,9.02,6.4)])
R(vco, nsdm, [(6.675,0.535,8.255,1.205), (6.675,1.205,8.965,1.315), (0.965,1.315,8.965,1.985), (7.675,1.985,8.965,1.995), (1.065,3.665,2.395,4.375), (0.775,4.375,2.395,4.495), (0.065,4.495,2.395,4.645), (0.065,4.645,1.335,4.765), (0.065,4.765,1.045,5.585), (3.955,5.925,8.525,6.345)])
R(vco, psdm, [(0.965,2.405,8.965,3.075), (6.675,3.075,8.965,3.735), (3.805,3.615,5.135,4.325), (2.705,3.655,3.365,4.545), (6.675,3.735,8.255,4.485), (3.805,4.325,5.555,4.485), (3.805,4.485,8.255,4.595), (4.865,4.595,8.255,4.755), (5.285,4.755,8.255,5.055), (5.285,5.055,7.485,5.575), (5.995,5.575,7.485,5.815)])
A(vco, npc, 1.07, 2.01, 0.37, 0.37, 7, 1, 1, 0)
R(vco, npc, [(8.08,2.01,8.45,2.38), (0.45,4.1,0.82,4.47), (6.455,4.63,6.825,5), (4.49,5.07,4.86,5.44)])

mux = lib.new_cell('MUX')
R(mux, nwell, [(0.12,1.44,3.46,2.52), (0.12,2.52,1.71,2.97)])
R(mux, diff, [(0.36,0.74,1.09,1.1), (1.42,0.74,2.15,1.1), (2.55,0.74,3.28,1.1), (0.36,1.62,1.09,2.34), (1.42,1.62,2.15,2.34), (2.55,1.62,3.28,2.34)])
R(mux, tap, [(0.3,0.01,0.71,0.18), (0.3,2.62,0.71,2.79)])
R(mux, poly, [(0.65,0.32,1.1,0.59), (1.63,0.32,1.96,0.59), (2.76,0.32,3.09,0.59), (0.65,0.59,0.8,2.47), (1.71,0.59,1.86,1.23), (2.84,0.59,2.99,1.23), (1.71,1.49,1.86,2.58), (2.84,1.49,2.99,2.58), (1.63,2.58,1.96,2.85), (2.76,2.58,3.09,2.85)])
R(mux, licon, [(0.42,0.01,0.59,0.18), (0.84,0.37,1.01,0.54), (1.71,0.37,1.88,0.54), (2.84,0.37,3.01,0.54), (0.42,0.83,0.59,1), (0.86,0.83,1.03,1), (1.48,0.83,1.65,1), (1.92,0.83,2.09,1), (2.61,0.83,2.78,1), (3.05,0.83,3.22,1), (0.86,1.66,1.03,1.83), (1.48,1.66,1.65,1.83), (1.92,1.66,2.09,1.83), (2.61,1.66,2.78,1.83), (3.05,1.66,3.22,1.83), (0.42,1.74,0.59,1.91), (0.86,2,1.03,2.17), (1.48,2,1.65,2.17), (1.92,2,2.09,2.17), (2.61,2,2.78,2.17), (3.05,2,3.22,2.17), (0.42,2.08,0.59,2.25), (0.42,2.62,0.59,2.79), (1.71,2.63,1.88,2.8), (2.84,2.63,3.01,2.8)])
R(mux, li1, [(0.3,0,0.71,0.2), (0.42,0.2,0.59,1.1), (1.63,0.35,1.96,0.56), (2.27,0.36,3.09,0.57), (0.76,0.37,1.09,0.54), (2.27,0.57,2.44,2.61), (0.86,0.74,1.03,2.61), (1.48,0.74,1.65,1.22), (1.92,0.74,2.09,2.34), (2.61,0.74,2.78,2.34), (3.05,0.74,3.22,2.09), (1.33,1.22,1.65,1.49), (1.48,1.49,1.65,2.34), (0.42,1.62,0.59,2.93), (3.05,2.09,3.34,2.32), (3.05,2.32,3.22,2.34), (0.86,2.61,2.44,2.82), (2.76,2.63,3.09,2.8)])
R(mux, mcon, [(0.84,0.37,1.01,0.54), (1.71,0.37,1.88,0.54), (1.35,1.26,1.52,1.43), (1.92,1.28,2.09,1.45), (2.61,2.12,2.78,2.29), (3.14,2.12,3.31,2.29), (2.84,2.63,3.01,2.8)])
R(mux, met1, [(1.63,0.29,1.95,0.3), (0,0.3,1.95,0.6), (1.63,0.6,1.95,0.61), (0,1.2,1.58,1.5), (1.86,1.22,3.92,1.46), (1.86,1.46,4.08,1.51), (3.63,1.51,4.08,1.88), (3.63,1.88,3.9,2.06), (0,2.06,2.84,2.35), (3.08,2.06,3.9,2.35), (2.76,2.55,3.08,2.87)])
R(mux, via, [(1.715,0.375,1.865,0.525), (2.845,2.635,2.995,2.785)])
R(mux, met2, [(1.63,0.29,1.95,0.3), (1.63,0.3,2.48,0.6), (1.63,0.6,1.95,0.61), (2.23,0.6,2.48,2.58), (2.76,2.55,3.08,2.58), (2.23,2.58,3.08,2.83), (2.76,2.83,3.08,2.87)])
R(mux, nsdm, [(0.235,0.615,3.405,1.225), (0.175,2.495,0.835,2.915)])
R(mux, psdm, [(0.175,-0.115,0.835,0.305), (0.235,1.495,3.405,2.465)])
R(mux, npc, [(0.74,0.27,1.11,0.64), (1.61,0.27,1.98,0.64), (2.74,0.27,3.11,0.64), (1.61,2.53,1.98,2.9), (2.74,2.53,3.11,2.9)])
mux.add(gdstk.Label('GND', (0.5,0.1), layer=65, texttype=44))

pll = lib.new_cell('PLL')
R(pll, nwell, [(8.09,0.78,9.45,2.14), (8.55,2.14,8.93,3.54), (8.67,5.06,8.91,5.25), (8.67,5.25,9.1,5.26), (8.67,5.26,9.61,5.52), (8.67,5.52,9.1,5.71), (8.67,5.71,9.04,5.75), (8.67,5.75,8.91,6.59), (10.4,6.42,26.19,6.68), (8.47,6.59,8.91,6.69), (10.4,6.68,26.27,6.69), (8.47,6.69,26.42,6.7), (8.62,6.7,26.42,6.98), (8.62,6.98,26.27,7.99), (8.62,7.99,13.88,8.47), (15.73,7.99,16.6,8.56), (18.45,7.99,26.27,8), (18.45,8,21.16,8.56), (21.18,8.1,21.62,8.69), (10.33,8.47,13.88,8.56), (10.33,8.56,11.45,8.57), (20.69,8.56,21.16,8.57), (30.71,8.76,31.18,9.81), (29.42,9.81,34.41,10.9), (29.51,10.9,34.41,10.91)])
R(pll, li1, [(8.47,0.75,8.68,0.78), (1.57,1.57,1.95,1.94), (7.66,1.75,9.01,2.05), (1.57,1.94,1.94,1.95), (8.71,2.05,9.01,2.37), (0.39,2.44,0.82,2.75), (0.54,2.75,0.82,8.52), (8.63,3.7,8.85,3.75), (29.07,3.94,29.95,4.48), (7.4,4.65,7.77,4.98), (8.74,5.25,9.1,5.26), (8.74,5.26,9.61,5.52), (8.74,5.52,9.1,5.61), (8.47,6.59,8.7,6.7), (10.23,8.17,11.61,8.34), (10.23,8.34,10.56,8.75), (0.54,8.52,1.29,8.8), (20.58,8.58,21.14,8.75), (20.97,8.75,21.14,10.38), (30.15,8.84,30.51,8.87), (30.07,8.87,30.51,9.07), (30.15,9.07,30.51,9.13), (19.44,10.38,21.14,10.55), (19.44,10.55,19.79,10.84), (20.21,10.94,21.21,11.18), (20.21,11.18,20.76,11.37), (9.28,11.31,9.65,11.7), (18.51,11.37,20.76,11.54), (20.3,11.54,20.69,11.77), (20.3,11.77,20.68,11.85), (20.18,12.94,21.2,13.11)])
A(pll, mcon, 20.35, 12.94, 0.17, 0.17, 3, 1, 0.34, 0)
R(pll, mcon, [(1.68,1.67,1.85,1.84), (8.78,2.17,8.95,2.34), (0.52,2.505,0.69,2.675), (29.58,4.17,29.75,4.34), (7.56,4.73,7.73,4.9), (8.77,5.34,8.94,5.51), (30.25,8.9,30.42,9.07), (19.48,10.64,19.65,10.81), (9.32,11.4,9.49,11.57), (20.42,11.57,20.59,11.74)])
R(pll, met1, [(28.32,0,29.23,0.31), (28.53,0.31,29.04,0.46), (27.75,0.46,29.04,0.54), (28.53,0.54,29.04,0.55), (8.47,0.75,8.68,0.78), (1.6,1.6,1.92,1.92), (8.7,2.09,9.03,2.43), (0.39,2.44,0.82,2.47), (0.39,2.47,1.99,2.74), (0.39,2.74,1.73,2.75), (0.65,3.42,1.66,3.9), (8.63,3.7,8.85,3.75), (0.65,3.9,1.02,4.23), (0,3.92,0.31,4.23), (29.51,4.1,29.83,4.42), (0,4.23,1.02,4.66), (7.45,4.63,7.85,5.01), (0,4.66,0.31,4.83), (8.69,5.25,9.04,5.61), (1.01,6.39,1.23,6.67), (0,6.5,0.32,6.67), (8.47,6.59,8.7,6.7), (0,6.67,1.23,7.34), (26.14,6.68,26.27,6.71), (11.43,6.71,29.25,7.03), (0,7.34,0.31,7.41), (21.36,8.1,21.8,8.69), (35.21,8.5,35.53,8.51), (34.43,8.51,35.53,8.81), (30.05,8.77,30.53,9.19), (35.21,8.81,35.53,8.82), (0,8.98,0.31,9.12), (0,9.12,0.9,9.58), (35.87,9.27,36.18,9.34), (35.28,9.34,36.18,9.96), (34.48,9.37,35.02,9.66), (0,9.58,1.25,9.75), (0,9.75,0.31,9.89), (0.59,9.75,1.25,10.06), (35.28,9.96,35.62,11.24), (35.87,9.96,36.18,10.18), (19.4,10.57,19.72,10.89), (31.38,11.23,35.13,11.24), (31.38,11.24,35.62,11.64), (9.23,11.32,9.58,11.66), (20.34,11.5,20.66,11.82), (31.38,11.64,35.6,11.65), (31.38,11.65,32.17,12.78), (18.42,12.78,21.63,13.27), (29.91,12.78,32.17,13.26)])
R(pll, via, [(1.685,1.685,1.835,1.835), (8.79,2.185,8.94,2.335), (29.595,4.185,29.745,4.335), (7.57,4.745,7.72,4.895), (8.79,5.35,8.94,5.5), (21.465,8.205,21.615,8.355), (35.295,8.585,35.445,8.735), (34.785,9.445,34.935,9.595), (19.485,10.655,19.635,10.805), (9.325,11.415,9.475,11.565), (20.425,11.585,20.575,11.735)])
R(pll, met2, [(29.69,0,30.46,0.28), (29.81,0.28,30.34,1.14), (6.94,1.04,9.09,1.44), (29.19,1.14,30.34,1.57), (6.94,1.44,7.34,3.3), (8.68,1.44,9.09,1.55), (1.57,1.57,1.95,1.95), (29.19,1.57,29.92,1.92), (8.7,2.09,9.03,3.18), (6.94,3.3,7.85,3.7), (7.45,3.7,7.85,5.01), (29.51,4.1,30.67,4.42), (30.32,4.42,30.67,6.54), (8.69,5.25,9.04,6.71), (0,5.29,0.28,5.52), (0,5.52,3.35,5.84), (0,5.84,0.28,6.06), (3.02,5.84,3.35,6.71), (30.32,6.54,35.02,6.86), (3.02,6.71,29.25,7.03), (34.7,6.86,35.02,9.66), (28.72,7.03,29.25,7.15), (28.72,7.15,32.89,7.45), (32.59,7.45,32.87,7.65), (32.59,7.65,32.61,7.89), (0,7.77,0.28,7.99), (0,7.99,3.2,8.28), (21.36,8.09,21.72,8.46), (35.9,8.27,36.18,8.5), (0,8.28,0.28,8.54), (2.89,8.28,3.2,9.92), (21.38,8.46,21.72,9.91), (35.21,8.5,36.18,8.82), (35.9,8.82,36.18,9.04), (18.04,9.91,21.72,9.92), (2.89,9.92,21.72,10.2), (2.89,10.2,19.74,10.21), (19.37,10.54,19.75,10.92), (9.21,11.29,9.6,11.68), (20.31,11.47,20.69,11.85), (19.37,12.41,19.75,12.78), (19.42,12.78,19.7,13.43), (19.18,13.43,19.95,13.71)])
R(pll, via2, [(29.45,1.43,29.65,1.63), (1.66,1.66,1.86,1.86), (19.46,10.63,19.66,10.83), (9.3,11.38,9.5,11.58), (20.4,11.56,20.6,11.76), (19.46,12.49,19.66,12.69)])
R(pll, met3, [(22.69,1.13,29.92,1.61), (1.57,1.57,3.75,1.95), (22.69,1.61,23.31,2.3), (29.19,1.61,29.92,1.92), (3.37,1.95,3.75,3.97), (22.68,2.3,23.31,4.37), (3.37,3.97,5.39,4.35), (5.01,4.35,5.39,9.6), (22.68,4.37,23.3,5.14), (20.55,5.14,23.3,5.54), (20.55,5.54,22.93,5.55), (20.55,5.55,20.94,11.47), (5.01,9.6,7.63,9.87), (5.01,9.87,7.64,9.98), (7.25,9.98,7.64,10.97), (8.91,10.26,19.79,10.61), (8.91,10.61,9.26,11.29), (19.37,10.61,19.79,10.85), (19.37,10.85,19.75,10.92), (7.25,10.97,7.63,12.44), (8.91,11.29,9.6,11.68), (20.31,11.47,20.94,11.57), (20.31,11.57,20.93,11.85), (19.34,12.36,19.79,12.44), (7.25,12.44,19.79,12.82)])
R(pll, nsdm, [(1.775,6.535,2.045,6.805), (1.775,6.805,5.985,6.915), (3.765,6.915,4.285,7.185), (4.965,6.915,5.365,7.185)])
R(pll, psdm, [(20.575,9.525,21.195,9.615), (20.845,9.615,21.195,10.035), (13.855,9.765,14.365,10.035), (18.495,9.765,18.535,10.035), (9.325,10.035,10.435,10.085), (11.505,10.035,15.875,10.085), (16.265,10.035,17.855,10.085), (18.495,10.035,18.805,10.085), (20.575,10.035,21.195,10.855), (9.325,10.085,9.425,10.355), (11.775,10.085,12.285,10.355), (13.795,10.085,14.185,10.355), (15.775,10.085,15.875,10.355), (16.265,10.085,16.455,10.355), (18.765,10.085,18.805,10.355)])
pll.add(gdstk.Reference(c_fd, (18.67,10.06), rotation=pi, x_reflection=True))
pll.add(gdstk.Reference(c_fd, (10.34,10.06), rotation=pi))
pll.add(gdstk.Reference(pfd, (1.01,0.46)))
pll.add(gdstk.Reference(c_fd, (20.75,10.06), rotation=pi))
pll.add(gdstk.Reference(c_cp, (8.67,0.46)))
pll.add(gdstk.Reference(vco, (30.16,13.26), rotation=pi))
pll.add(gdstk.Reference(mux, (34.53,7.31), rotation=pi, x_reflection=True))

lib.write_gds('PLL.gds')
